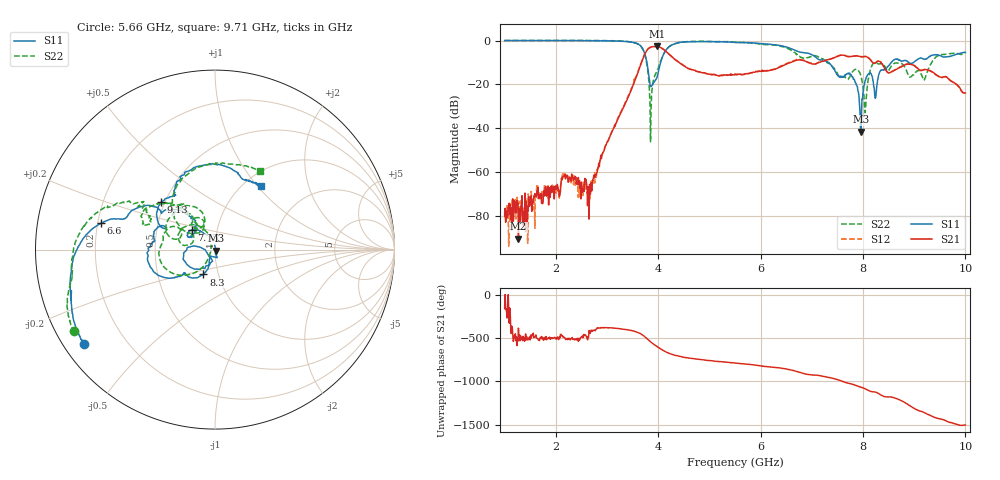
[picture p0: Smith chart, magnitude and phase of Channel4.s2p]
!Agilent Technologies,N5227A,US51270477,A.10.00.00
!File generated by LCAF-GAM-UPV software
!josevmart@iteam.upv.es
!S2P File: Measurements: S11, S21, S12, S22:
# Hz S  dB  R 50
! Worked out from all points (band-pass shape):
!   901 points, 1 GHz to 10 GHz, reference 50 ohm
!   highest |S21| = -2.68 dB at 3.97 GHz (marker M1); lowest = -90.4 dB at 1.27 GHz (marker M2)
!   |S21| within 3 dB of the highest: 3.749 GHz to 4.188 GHz (438.9 MHz wide, 11.1 % of centre)
!   lowest |S11| = -41.6 dB at 7.96 GHz (marker M3), VSWR 1.02, Z = 50.6 - j0.603 ohm
!   |S11| at or under -10 dB: 3.779 GHz to 4.047 GHz (267.9 MHz wide, 6.85 % of centre); 7.328 GHz to 8.553 GHz (1.225 GHz wide, 15.4 % of centre); 8.894 GHz to 8.986 GHz (92.6 MHz wide, 1.04 % of centre)
!   |S22| runs from -46.2 to 0.1 dB; largest |S21 - S12| = 0.062
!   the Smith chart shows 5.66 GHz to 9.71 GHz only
!   S11 on the Smith chart (normalised r, x): 5.66 GHz: 0.06, -0.32; 6.6 GHz: 0.21, +0.11; 7.75 GHz: 0.76, +0.17; 8.3 GHz: 0.85, -0.24; 9.13 GHz: 0.48, +0.30; 9.71 GHz: 1.20, +1.04
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1e9  0.01 -29.1  -80.05 -159.3  -78.17 -27.0  0.02 -29.3
1.27e9  0.00 -37.5  -90.36 -25.7  -76.46 -143.1  0.03 -37.4
2.5e9  -0.01 -74.6  -64.58 -132.4  -67.21 -120.1  0.05 -75.4
2.66e9  -0.03 -80.5  -65.58 -74.0  -68.95 -85.7  0.04 -81.9
3.35e9  -0.37 -112.9  -29.06 -40.1  -28.53 -41.9  -0.31 -117.4
3.74e9  -6.17 -176.9  -6.09 -125.4  -5.87 -132.3  -6.79 166.0
3.85e9  -21.03 -146.7  -3.05 176.8  -3.03 173.2  -46.15 123.2
3.97e9  -17.16 -57.3  -2.68 124.8  -2.77 121.2  -14.02 -46.6
4e9  -14.39 -41.1  -2.83 112.8  -2.86 111.6  -12.75 -46.3
4.46e9  -0.69 -86.7  -10.85 2.5  -10.77 2.4  -0.74 -88.4
5.5e9  -0.85 -139.1  -15.40 -69.8  -15.22 -70.5  -0.75 -144.1
5.66e9  -0.92 -144.4  -15.44 -78.6  -15.39 -78.6  -0.82 -150.0
6.6e9  -3.72 166.9  -9.84 -150.2  -9.55 -152.9  -4.52 153.9
7e9  -6.41 149.9  -10.58 153.3  -10.43 151.4  -7.15 157.5
7.75e9  -15.52 139.8  -7.26 52.2  -7.32 52.5  -16.13 170.9
7.96e9  -41.61 -45.9  -7.36 10.8  -7.36 11.9  -16.14 123.5
8.05e9  -17.85 -126.2  -7.25 -8.5  -7.21 -8.5  -31.04 -150.3
8.3e9  -16.33 -115.0  -9.39 -60.6  -9.33 -58.9  -10.64 172.3
8.5e9  -11.50 -145.0  -14.76 -99.8  -14.66 -99.2  -13.72 161.9
9.13e9  -7.97 138.6  -13.67 93.0  -13.61 92.3  -14.80 112.8
9.71e9  -7.20 53.7  -18.24 -38.3  -18.29 -36.4  -5.91 60.3
1e10  -5.36 19.0  -23.91 -65.9  -23.93 -65.4  -5.58 21.2
